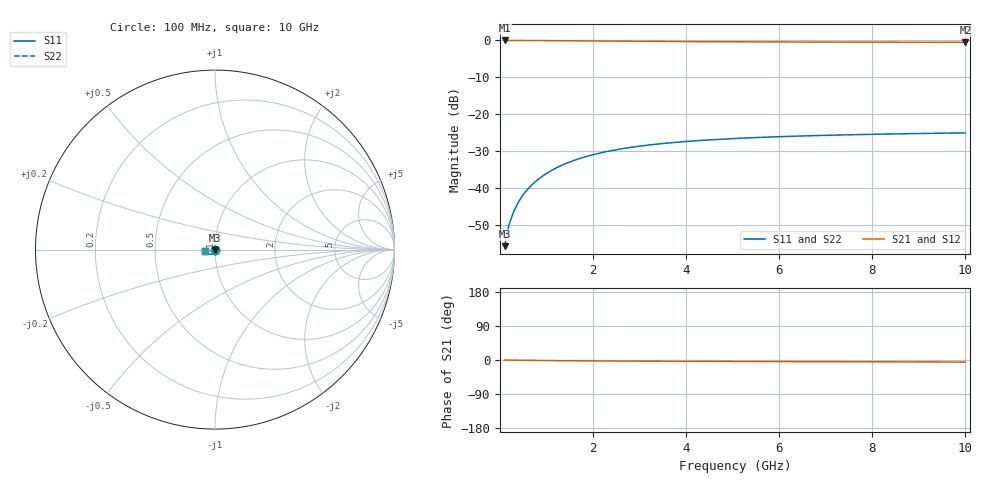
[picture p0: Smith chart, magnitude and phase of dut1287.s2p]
! Touchstone file exported from HFSS 2024.1.0
!  File:  C:/UserFiles/LocalFiles/RDL_TSV_Batchsim/temp_TSV1_1287_1780255834.aedt
!  Generated:  03:36:49 AM Jun  1, 2026
!  Design:  TSV1
!  Project:  temp_TSV1_1287_1780255834
!  Setup:  Setup1
!  Solution:  Sweep
! Variables:
!  dtsv = 12.94um
!  hbump = 3um
!  htsv = 83.54um
!  lrdl = 252.1521522um
!  p = 40
!  p1 = 53um
!  t = 500um
!  trdl = 3um
!  wrdl = 24.89489489um
# GHz S MA R 50.000000
! Terminal data exported
! Port[1] = TSV22_T1
! Port[2] = TSV22_T2
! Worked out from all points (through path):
!   100 points, 100 MHz to 10 GHz, reference 50 ohm
!   highest |S21| = 0.00 dB at 100 MHz (marker M1); lowest = -0.5 dB at 10 GHz (marker M2)
!   lowest |S11| = -55.7 dB at 100 MHz (marker M3), VSWR 1.00, Z = 50 - j0.164 ohm
!   |S11| at or under -10 dB: start of sweep to end of sweep
!   |S22| runs from -55.7 to -25.0 dB; largest |S21 - S12| = 8.1e-15
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0.1  0.001645 -88.6  0.9999 -0.1  0.9999 -0.1  0.001645 -88.6
! Gamma 0 0 0 0
! Port Impedance 50 0 50 0
0.2  0.003286 -91.9  0.9997 -0.3  0.9997 -0.3  0.003286 -91.9
0.3  0.004925 -94.1  0.9994 -0.4  0.9994 -0.4  0.004925 -94.1
0.4  0.006555 -96.2  0.999 -0.6  0.999 -0.6  0.006555 -96.2
0.5  0.008171 -98.1  0.9986 -0.7  0.9986 -0.7  0.008171 -98.1
0.6  0.009767 -100.0  0.998 -0.8  0.998 -0.8  0.009767 -100.0
0.7  0.01134 -101.8  0.9974 -1.0  0.9974 -1.0  0.01134 -101.8
0.8  0.01288 -103.6  0.9967 -1.1  0.9967 -1.1  0.01288 -103.6
0.9  0.01439 -105.4  0.9959 -1.2  0.9959 -1.2  0.01439 -105.4
1.1  0.0173 -108.8  0.9942 -1.5  0.9942 -1.5  0.0173 -108.8
1.4  0.02138 -113.7  0.9912 -1.8  0.9912 -1.8  0.02138 -113.7
1.6  0.0239 -116.8  0.9891 -2.0  0.9891 -2.0  0.0239 -116.8
1.8  0.02624 -119.7  0.9869 -2.2  0.9869 -2.2  0.02624 -119.7
2.1  0.02945 -123.8  0.9836 -2.4  0.9836 -2.4  0.02945 -123.8
2.5  0.03318 -128.8  0.9793 -2.7  0.9793 -2.7  0.03318 -128.8
2.9  0.03637 -133.2  0.9752 -3.0  0.9752 -3.0  0.03637 -133.2
3.4  0.03969 -138.2  0.9706 -3.2  0.9706 -3.2  0.03969 -138.2
4.2  0.04384 -144.8  0.9643 -3.6  0.9643 -3.6  0.04384 -144.8
5.1  0.04728 -151.0  0.9588 -3.9  0.9588 -3.9  0.04728 -151.0
6.7  0.05142 -159.6  0.9517 -4.4  0.9517 -4.4  0.05142 -159.6
8.4  0.05425 -166.6  0.9468 -4.9  0.9468 -4.9  0.05425 -166.6
10  0.05612 -172.1  0.9436 -5.4  0.9436 -5.4  0.05611 -172.1
